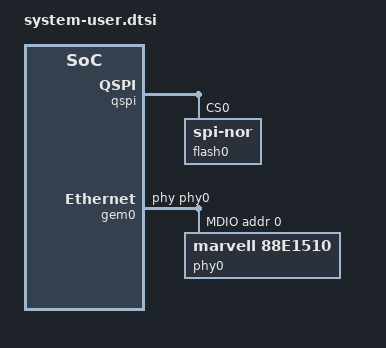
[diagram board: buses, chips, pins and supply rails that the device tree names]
/include/ "system-conf.dtsi"
/ {
};


/* default */

/* QSPI PHY */
&qspi {
    #address-cells = <1>;
    #size-cells = <0>;
    status = "okay";
    flash0: flash@0 {
        compatible = "jedec,spi-nor";
        reg = <0x0>;
        #address-cells = <1>;
        #size-cells = <1>;
    };
};


/* ETH PHY */
&gem0 {
    phy-handle = <&phy0>;
    mdio {
        #address-cells = <1>;
        #size-cells = <0>;
        phy0: phy@0 {
            compatible = "marvell,88e1510";
            device_type = "ethernet-phy";
            reg = <0>;
        };
    };
};

/* I2C need I2C1 connected to te0720 system controller ip */
/* SC not included in current Pac-Man firmware, will be needed for RTC...
&i2c1 {

    iexp@20 {       // GPIO in CPLD
        #gpio-cells = <2>;
        compatible = "ti,pcf8574";
        reg = <0x20>;
        gpio-controller;
    };

    iexp@21 {       // GPIO in CPLD
        #gpio-cells = <2>;
        compatible = "ti,pcf8574";
        reg = <0x21>;
        gpio-controller;
    };

    rtc@6F {        // Real Time Clock
        compatible = "isl12022";
        reg = <0x6F>;
    };
};*/
